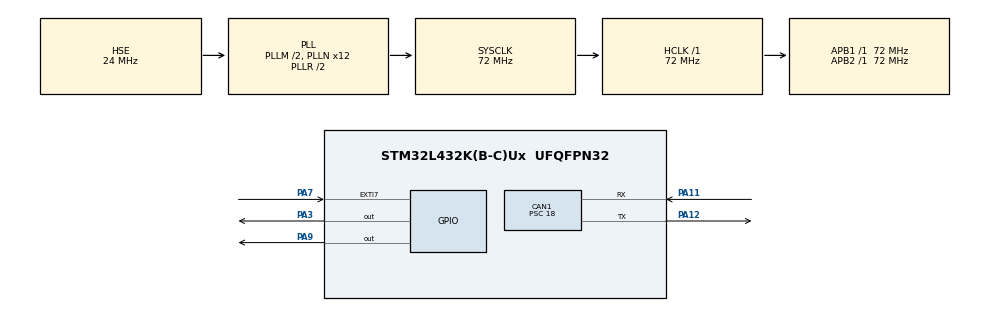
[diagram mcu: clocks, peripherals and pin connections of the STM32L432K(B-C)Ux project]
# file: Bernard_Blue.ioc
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CAN1.BS1=CAN_BS1_4TQ
CAN1.BS2=CAN_BS2_3TQ
CAN1.CalculateBaudRate=500000
CAN1.CalculateTimeBit=2000
CAN1.CalculateTimeQuantum=250.0
CAN1.Mode=CAN_MODE_NORMAL
CAN1.Prescaler=18
Mcu.Family=STM32L4
Mcu.Name=STM32L432K(B-C)Ux
Mcu.Package=UFQFPN32
NVIC.CAN1_RX0_IRQn=true\:0\:0\:false\:false\:true\:true\:true\:true
NVIC.PriorityGroup=NVIC_PRIORITYGROUP_4
PA0.Mode=HSE-External-Clock-Source-for-LittleOrca
PA0.Signal=RCC_CK_IN
PA11.Mode=CAN_Activate
PA11.Signal=CAN1_RX
PA12.Mode=CAN_Activate
PA12.Signal=CAN1_TX
PA13\ (JTMS-SWDIO).Mode=Serial_Wire
PA13\ (JTMS-SWDIO).Signal=SYS_JTMS-SWDIO
PA14\ (JTCK-SWCLK).Mode=Serial_Wire
PA14\ (JTCK-SWCLK).Signal=SYS_JTCK-SWCLK
PA3.Signal=GPIO_Output
PA7.Signal=GPXTI7
PA9.Signal=GPIO_Output
ProjectManager.HeapSize=0x200
ProjectManager.StackSize=0x400
ProjectManager.TargetToolchain=STM32CubeIDE
RCC.ADCFreq_Value=48000000
RCC.AHBFreq_Value=72000000
RCC.APB1Freq_Value=72000000
RCC.APB1TimFreq_Value=72000000
RCC.APB2Freq_Value=72000000
RCC.APB2TimFreq_Value=72000000
RCC.CortexFreq_Value=72000000
RCC.HCLKFreq_Value=72000000
RCC.HSE_VALUE=24000000
RCC.HSI48_VALUE=48000000
RCC.HSI_VALUE=16000000
RCC.MSI_VALUE=4000000
RCC.PLLM=2
RCC.PLLN=12
RCC.PLLSourceVirtual=RCC_PLLSOURCE_HSE
RCC.SYSCLKFreq_VALUE=72000000
RCC.SYSCLKSource=RCC_SYSCLKSOURCE_PLLCLK
RCC.USBFreq_Value=48000000
RCC.VCOOutputFreq_Value=144000000
board=custom

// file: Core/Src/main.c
/* USER CODE BEGIN Header */
/**
  ******************************************************************************
  * @file           : main.c
  * @brief          : Main program body
  ******************************************************************************
  * @attention
  *
  * <h2><center>&copy; Copyright (c) 2021 STMicroelectronics.
  * All rights reserved.</center></h2>
  *
  * This software component is licensed by ST under BSD 3-Clause license,
  * the "License"; You may not use this file except in compliance with the
  * License. You may obtain a copy of the License at:
  *                        opensource.org/licenses/BSD-3-Clause
  *
  ******************************************************************************
  */
/* USER CODE END Header */
#include "main.h"

 CAN_HandleTypeDef hcan1;

void SystemClock_Config(void);
static void MX_GPIO_Init(void);
static void MX_CAN1_Init(void);

/* USER CODE BEGIN 0 */

CAN_TxHeaderTypeDef TxHeader;
CAN_RxHeaderTypeDef RxHeader;

uint8_t TxData[8];
uint8_t RxData[8];

uint32_t TxMailbox;

int datacheck = 0;

void HAL_GPIO_EXTI_Callback(uint16_t GPIO_Pin)
{
	if (GPIO_Pin == GPIO_PIN_7)
	{
		TxData[0] = 100;   // ms Delay
		TxData[1] = 40;    // loop rep

		HAL_CAN_AddTxMessage(&hcan1, &TxHeader, TxData, &TxMailbox);
	}
}

void HAL_CAN_RxFifo0MsgPendingCallback(CAN_HandleTypeDef *hcan)
{
	HAL_CAN_GetRxMessage(hcan, CAN_RX_FIFO0, &RxHeader, RxData);
	if (RxHeader.DLC == 2)
	{
		datacheck = 1;
	}
}

/* USER CODE END 0 */

int main(void)
{

  /* MCU Configuration--------------------------------------------------------*/

  /* Reset of all peripherals, Initializes the Flash interface and the Systick. */
  HAL_Init();

  /* Configure the system clock */
  SystemClock_Config();

  /* Initialize all configured peripherals */
  MX_GPIO_Init();
  MX_CAN1_Init();
  /* USER CODE BEGIN 2 */

  HAL_CAN_Start(&hcan1);

  // Activate the notification
  HAL_CAN_ActivateNotification(&hcan1, CAN_IT_RX_FIFO0_MSG_PENDING);

  TxHeader.DLC = 2;  // data length
  TxHeader.IDE = CAN_ID_STD;
  TxHeader.RTR = CAN_RTR_DATA;
  TxHeader.StdId = 0x123;  // ID
  TxHeader.TransmitGlobalTime = DISABLE;

  /* USER CODE END 2 */

  /* Infinite loop */
  while (1)
  {

    /* USER CODE BEGIN 3 */
	  HAL_GPIO_EXTI_Callback(0x0080);
	  if (datacheck)
	  {
		  // blink the LED
		  for (int i=0; i<RxData[1]; i++)
		  {
			  HAL_GPIO_TogglePin(GPIOA, GPIO_PIN_9);
			  HAL_Delay(RxData[0]);
		  }

		  datacheck = 0;

			TxData[0] = 100;   // ms Delay
			TxData[1] = 40;    // loop rep

			HAL_CAN_AddTxMessage(&hcan1, &TxHeader, TxData, &TxMailbox);
	  }
  }
  /* USER CODE END 3 */
}

void SystemClock_Config(void)
{
  RCC_OscInitTypeDef RCC_OscInitStruct = {0};
  RCC_ClkInitTypeDef RCC_ClkInitStruct = {0};

  /** Configure the main internal regulator output voltage
  */
  if (HAL_PWREx_ControlVoltageScaling(PWR_REGULATOR_VOLTAGE_SCALE1) != HAL_OK)
  {
    Error_Handler();
  }

  /** Initializes the RCC Oscillators according to the specified parameters
  * in the RCC_OscInitTypeDef structure.
  */
  RCC_OscInitStruct.OscillatorType = RCC_OSCILLATORTYPE_HSE;
  RCC_OscInitStruct.HSEState = RCC_HSE_BYPASS;
  RCC_OscInitStruct.PLL.PLLState = RCC_PLL_ON;
  RCC_OscInitStruct.PLL.PLLSource = RCC_PLLSOURCE_HSE;
  RCC_OscInitStruct.PLL.PLLM = 2;
  RCC_OscInitStruct.PLL.PLLN = 12;
  RCC_OscInitStruct.PLL.PLLP = RCC_PLLP_DIV7;
  RCC_OscInitStruct.PLL.PLLQ = RCC_PLLQ_DIV2;
  RCC_OscInitStruct.PLL.PLLR = RCC_PLLR_DIV2;
  if (HAL_RCC_OscConfig(&RCC_OscInitStruct) != HAL_OK)
  {
    Error_Handler();
  }

  /** Initializes the CPU, AHB and APB buses clocks
  */
  RCC_ClkInitStruct.ClockType = RCC_CLOCKTYPE_HCLK|RCC_CLOCKTYPE_SYSCLK
                              |RCC_CLOCKTYPE_PCLK1|RCC_CLOCKTYPE_PCLK2;
  RCC_ClkInitStruct.SYSCLKSource = RCC_SYSCLKSOURCE_PLLCLK;
  RCC_ClkInitStruct.AHBCLKDivider = RCC_SYSCLK_DIV1;
  RCC_ClkInitStruct.APB1CLKDivider = RCC_HCLK_DIV1;
  RCC_ClkInitStruct.APB2CLKDivider = RCC_HCLK_DIV1;

  if (HAL_RCC_ClockConfig(&RCC_ClkInitStruct, FLASH_LATENCY_4) != HAL_OK)
  {
    Error_Handler();
  }
}

static void MX_CAN1_Init(void)
{

  hcan1.Instance = CAN1;
  hcan1.Init.Prescaler = 18;
  hcan1.Init.Mode = CAN_MODE_NORMAL;
  hcan1.Init.SyncJumpWidth = CAN_SJW_1TQ;
  hcan1.Init.TimeSeg1 = CAN_BS1_4TQ;
  hcan1.Init.TimeSeg2 = CAN_BS2_3TQ;
  hcan1.Init.TimeTriggeredMode = DISABLE;
  hcan1.Init.AutoBusOff = DISABLE;
  hcan1.Init.AutoWakeUp = DISABLE;
  hcan1.Init.AutoRetransmission = DISABLE;
  hcan1.Init.ReceiveFifoLocked = DISABLE;
  hcan1.Init.TransmitFifoPriority = DISABLE;
  if (HAL_CAN_Init(&hcan1) != HAL_OK)
  {
    Error_Handler();
  }
  /* USER CODE BEGIN CAN1_Init 2 */

  CAN_FilterTypeDef canfilterconfig;

  canfilterconfig.FilterActivation = CAN_FILTER_ENABLE;
  canfilterconfig.FilterBank = 0;  // which filter bank to use from the assigned ones
  canfilterconfig.FilterFIFOAssignment = CAN_FILTER_FIFO0;
  canfilterconfig.FilterIdHigh = 0;
  canfilterconfig.FilterIdLow = 0;
  canfilterconfig.FilterMaskIdHigh = 0;
  canfilterconfig.FilterMaskIdLow = 0;
  canfilterconfig.FilterMode = CAN_FILTERMODE_IDMASK;
  canfilterconfig.FilterScale = CAN_FILTERSCALE_32BIT;
  canfilterconfig.SlaveStartFilterBank = 14;  // how many filters to assign to the CAN1 (master can)

  HAL_CAN_ConfigFilter(&hcan1, &canfilterconfig);

  /* USER CODE END CAN1_Init 2 */

}

static void MX_GPIO_Init(void)
{
  GPIO_InitTypeDef GPIO_InitStruct = {0};

  /* GPIO Ports Clock Enable */
  __HAL_RCC_GPIOA_CLK_ENABLE();

  /*Configure GPIO pin Output Level */
  HAL_GPIO_WritePin(GPIOA, GPIO_PIN_3|GPIO_PIN_9, GPIO_PIN_RESET);

  /*Configure GPIO pins : PA3 PA9 */
  GPIO_InitStruct.Pin = GPIO_PIN_3|GPIO_PIN_9;
  GPIO_InitStruct.Mode = GPIO_MODE_OUTPUT_PP;
  GPIO_InitStruct.Pull = GPIO_NOPULL;
  GPIO_InitStruct.Speed = GPIO_SPEED_FREQ_LOW;
  HAL_GPIO_Init(GPIOA, &GPIO_InitStruct);

  /*Configure GPIO pin : PA7 */
  GPIO_InitStruct.Pin = GPIO_PIN_7;
  GPIO_InitStruct.Mode = GPIO_MODE_IT_RISING;
  GPIO_InitStruct.Pull = GPIO_NOPULL;
  HAL_GPIO_Init(GPIOA, &GPIO_InitStruct);

}

void Error_Handler(void)
{
  __disable_irq();
  while (1)
  {
  }
}
